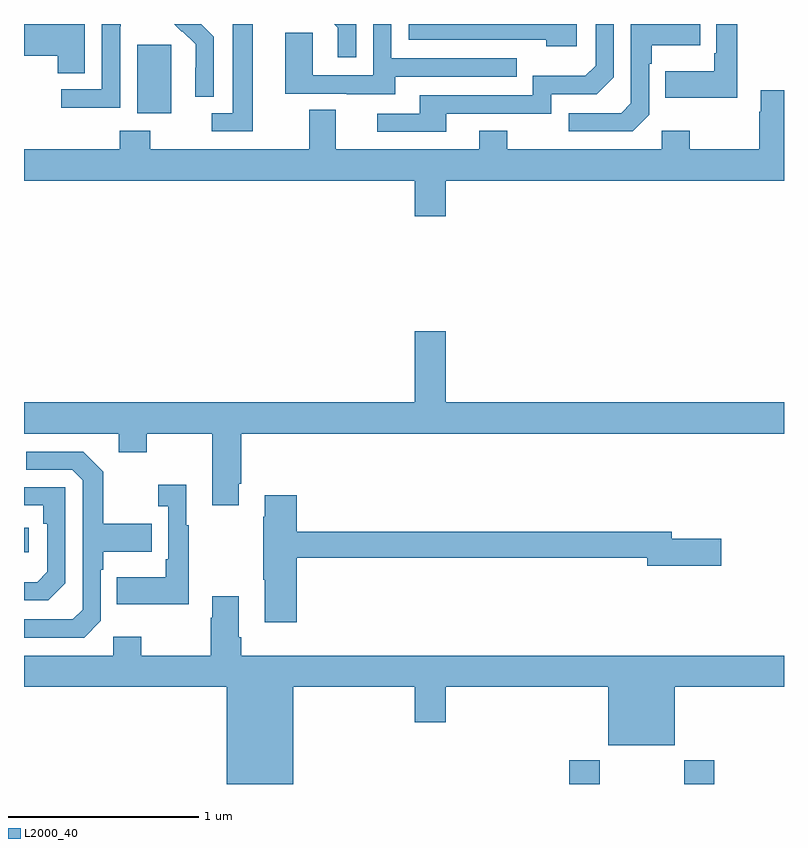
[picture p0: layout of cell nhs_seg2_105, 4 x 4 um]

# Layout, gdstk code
import gdstk
lib = gdstk.Library(unit=1e-6, precision=1e-09)
def R(c, l, rs):  # rectangles x0, y0, x1, y1
    for r in rs: c.add(gdstk.rectangle(r[:2], r[2:], *l))
def P(c, l, *ps):  # polygons
    for p in ps: c.add(gdstk.Polygon(p, *l))
L2000_40 = (2000, 40)

nhs_seg2_105 = lib.new_cell('nhs_seg2_105')
R(nhs_seg2_105, L2000_40, [(117.869,637.8,118.029,637.924), (118.474,637.8,118.634,637.924), (115,639.02,115.024,639.15), (115.595,641.33,115.774,641.691)])
P(nhs_seg2_105, L2000_40, [(116.748,641.8),(116.632,641.8),(116.651,641.781),(116.651,641.625),(116.748,641.625)],
  [(116.203,641.8),(116.099,641.8),(116.099,641.331),(115.989,641.331),(115.989,641.235),(116.203,641.235)],
  [(118.753,641.8),(118.644,641.8),(118.644,641.647),(118.632,641.647),(118.632,641.551),(118.375,641.551),(118.375,641.411),(118.753,641.411)],
  [(117.223,641.328),(117.774,641.328),(117.774,641.43),(118.014,641.43),(118.104,641.52),(118.104,641.8),(118.008,641.8),(118.008,641.58),(117.955,641.527),(117.678,641.527),(117.678,641.424),(117.083,641.424),(117.083,641.328),(116.859,641.328),(116.859,641.232),(117.223,641.232)],
  [(116.953,641.523),(117.593,641.523),(117.593,641.619),(116.934,641.619),(116.934,641.8),(116.838,641.8),(116.838,641.529),(116.52,641.529),(116.52,641.753),(116.375,641.753),(116.375,641.433),(116.699,641.433),(116.699,641.429),(116.953,641.429)],
  [(118.29,641.322),(118.29,641.591),(118.303,641.591),(118.303,641.687),(118.559,641.687),(118.559,641.8),(118.194,641.8),(118.194,641.382),(118.143,641.331),(117.867,641.331),(117.867,641.235),(118.203,641.235)],
  [(115.321,641.8),(115,641.8),(115,641.633),(115.178,641.633),(115.178,641.542),(115.321,641.542)],
  [(117.91,641.8),(117.024,641.8),(117.024,641.718),(117.749,641.718),(117.749,641.684),(117.91,641.684)],
  [(115.506,641.788),(115.509,641.788),(115.509,641.8),(115.41,641.8),(115.41,641.457),(115.197,641.457),(115.197,641.359),(115.506,641.359)],
  [(115.998,641.734),(115.932,641.8),(115.79,641.8),(115.83,641.76),(115.833,641.763),(115.904,641.693),(115.904,641.57),(115.902,641.57),(115.902,641.416),(115.998,641.416)],
  [(117.22,640.976),(119,640.976),(119,641.452),(118.877,641.452),(118.877,641.339),(118.87,641.339),(118.87,641.14),(118.503,641.14),(118.503,641.239),(118.356,641.239),(118.356,641.14),(117.543,641.14),(117.543,641.239),(117.395,641.239),(117.395,641.14),(116.641,641.14),(116.641,641.348),(116.501,641.348),(116.501,641.14),(115.665,641.14),(115.665,641.239),(115.505,641.239),(115.505,641.14),(115,641.14),(115,640.976),(117.056,640.976),(117.056,640.788),(117.22,640.788)],
  [(116.131,639.379),(116.144,639.379),(116.144,639.644),(119,639.644),(119,639.808),(117.22,639.808),(117.22,640.183),(117.056,640.183),(117.056,639.808),(115,639.808),(115,639.644),(115.499,639.644),(115.499,639.545),(115.647,639.545),(115.647,639.644),(115.991,639.644),(115.991,639.267),(116.131,639.267)],
  [(115.404,638.658),(115.404,638.927),(115.417,638.927),(115.417,639.023),(115.673,639.023),(115.673,639.171),(115.417,639.171),(115.417,639.443),(115.311,639.549),(115.011,639.549),(115.011,639.453),(115.254,639.453),(115.308,639.399),(115.308,638.718),(115.257,638.667),(115,638.667),(115,638.571),(115.317,638.571)],
  [(115.867,639.163),(115.855,639.163),(115.855,639.376),(115.707,639.376),(115.707,639.263),(115.758,639.263),(115.758,638.983),(115.746,638.983),(115.746,638.887),(115.489,638.887),(115.489,638.747),(115.867,638.747)],
  [(115.218,638.856),(115.218,639.363),(115,639.363),(115,639.267),(115.102,639.267),(115.102,639.17),(115.122,639.17),(115.122,638.916),(115.069,638.863),(115,638.863),(115,638.766),(115.128,638.766)],
  [(116.435,638.992),(118.28,638.992),(118.28,638.95),(118.669,638.95),(118.669,639.092),(118.408,639.092),(118.408,639.128),(116.435,639.128),(116.435,639.319),(116.267,639.319),(116.267,639.206),(116.26,639.206),(116.26,638.875),(116.267,638.875),(116.267,638.652),(116.435,638.652)],
  [(116.416,638.312),(117.056,638.312),(117.056,638.124),(117.22,638.124),(117.22,638.312),(118.076,638.312),(118.076,638.003),(118.426,638.003),(118.426,638.312),(119,638.312),(119,638.476),(116.144,638.476),(116.144,638.572),(116.131,638.572),(116.131,638.788),(115.991,638.788),(115.991,638.675),(115.984,638.675),(115.984,638.476),(115.617,638.476),(115.617,638.575),(115.47,638.575),(115.47,638.476),(115,638.476),(115,638.312),(116.066,638.312),(116.066,637.8),(116.416,637.8)])

lib.write_gds('nhs_seg2_105.gds')
